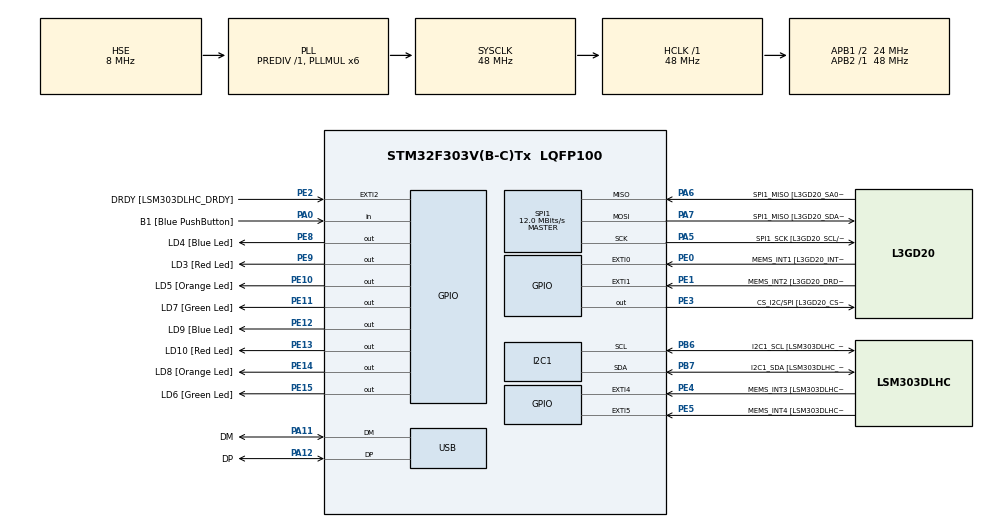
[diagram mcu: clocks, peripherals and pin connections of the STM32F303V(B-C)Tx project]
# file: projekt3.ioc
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I2C1.Timing=0x2000090E
I2C1.Timing-I2C=0x2000090E
Mcu.Family=STM32F3
Mcu.Name=STM32F303V(B-C)Tx
Mcu.Package=LQFP100
NVIC.PriorityGroup=NVIC_PRIORITYGROUP_0
NVIC.TIM2_IRQn=true\:0\:0\:false\:false\:true\:true\:true\:true
NVIC.TIM3_IRQn=true\:0\:0\:false\:false\:true\:true\:true\:true
PA0.GPIO_Label=B1 [Blue PushButton]
PA0.Signal=GPIO_Input
PA11.GPIO_Label=DM
PA11.Mode=Device
PA11.Signal=USB_DM
PA12.GPIO_Label=DP
PA12.Mode=Device
PA12.Signal=USB_DP
PA13.GPIO_Label=SWDIO
PA13.Mode=Serial_Wire
PA13.Signal=SYS_JTMS-SWDIO
PA14.GPIO_Label=SWCLK
PA14.Mode=Serial_Wire
PA14.Signal=SYS_JTCK-SWCLK
PA5.GPIO_Label=SPI1_SCK [L3GD20_SCL/SPC]
PA5.Mode=Full_Duplex_Master
PA5.Signal=SPI1_SCK
PA6.GPIO_Label=SPI1_MISO [L3GD20_SA0/SDO]
PA6.Mode=Full_Duplex_Master
PA6.Signal=SPI1_MISO
PA7.GPIO_Label=SPI1_MISO [L3GD20_SDA/SDI/SDO]
PA7.Mode=Full_Duplex_Master
PA7.Signal=SPI1_MOSI
PB3.GPIO_Label=SWO
PB3.Signal=SYS_JTDO-TRACESWO
PB6.GPIO_Label=I2C1_SCL [LSM303DLHC_SCL]
PB6.GPIO_Pu=GPIO_PULLUP
PB6.Mode=I2C
PB6.Signal=I2C1_SCL
PB7.GPIO_Label=I2C1_SDA [LSM303DLHC_SDA]
PB7.GPIO_Pu=GPIO_PULLUP
PB7.Mode=I2C
PB7.Signal=I2C1_SDA
PC14-OSC32_IN.GPIO_Label=OSC32_IN
PC14-OSC32_IN.Signal=RCC_OSC32_IN
PC15-OSC32_OUT.GPIO_Label=OSC32_OUT
PC15-OSC32_OUT.Signal=RCC_OSC32_OUT
PE0.GPIO_Label=MEMS_INT1 [L3GD20_INT1]
PE0.GPIO_ModeDefaultEXTI=GPIO_MODE_EVT_RISING
PE0.Signal=GPXTI0
PE1.GPIO_Label=MEMS_INT2 [L3GD20_DRDY/INT2]
PE1.GPIO_ModeDefaultEXTI=GPIO_MODE_EVT_RISING
PE1.Signal=GPXTI1
PE10.GPIO_Label=LD5 [Orange Led]
PE10.Signal=GPIO_Output
PE11.GPIO_Label=LD7 [Green Led]
PE11.Signal=GPIO_Output
PE12.GPIO_Label=LD9 [Blue Led]
PE12.Signal=GPIO_Output
PE13.GPIO_Label=LD10 [Red Led]
PE13.Signal=GPIO_Output
PE14.GPIO_Label=LD8 [Orange Led]
PE14.Signal=GPIO_Output
PE15.GPIO_Label=LD6 [Green Led]
PE15.Signal=GPIO_Output
PE2.GPIO_Label=DRDY [LSM303DLHC_DRDY]
PE2.GPIO_ModeDefaultEXTI=GPIO_MODE_EVT_RISING
PE2.Signal=GPXTI2
PE3.GPIO_Label=CS_I2C/SPI [L3GD20_CS_I2C/SPI]
PE3.Signal=GPIO_Output
PE4.GPIO_Label=MEMS_INT3 [LSM303DLHC_INT1]
PE4.GPIO_ModeDefaultEXTI=GPIO_MODE_EVT_RISING
PE4.Signal=GPXTI4
PE5.GPIO_Label=MEMS_INT4 [LSM303DLHC_INT2]
PE5.GPIO_ModeDefaultEXTI=GPIO_MODE_EVT_RISING
PE5.Signal=GPXTI5
PE8.GPIO_Label=LD4 [Blue Led]
PE8.Signal=GPIO_Output
PE9.GPIO_Label=LD3 [Red Led]
PE9.Signal=GPIO_Output
PF0-OSC_IN.GPIO_Label=OSC_IN
PF0-OSC_IN.Mode=HSE-External-Clock-Source
PF0-OSC_IN.Signal=RCC_OSC_IN
PF1-OSC_OUT.GPIO_Label=OSC_OUT
PF1-OSC_OUT.Signal=RCC_OSC_OUT
ProjectManager.HeapSize=0x200
ProjectManager.StackSize=0x400
ProjectManager.TargetToolchain=STM32CubeIDE
RCC.AHBFreq_Value=48000000
RCC.APB1CLKDivider=RCC_HCLK_DIV2
RCC.APB1Freq_Value=24000000
RCC.APB1TimFreq_Value=48000000
RCC.APB2Freq_Value=48000000
RCC.APB2TimFreq_Value=48000000
RCC.CortexFreq_Value=48000000
RCC.HCLKFreq_Value=48000000
RCC.HSE_VALUE=8000000
RCC.HSI_VALUE=8000000
RCC.LSE_VALUE=32768
RCC.PLLMUL=RCC_PLL_MUL6
RCC.SYSCLKFreq_VALUE=48000000
RCC.SYSCLKSourceVirtual=RCC_SYSCLKSOURCE_PLLCLK
RCC.USBFreq_Value=48000000
SPI1.BaudRatePrescaler=SPI_BAUDRATEPRESCALER_4
SPI1.BaudRatePrescaler-Full_Duplex_Master=SPI_BAUDRATEPRESCALER_2
SPI1.CalculateBaudRate=12.0 MBits/s
SPI1.CalculateBaudRate-Full_Duplex_Master=24.0 MBits/s
SPI1.Direction=SPI_DIRECTION_2LINES
SPI1.Mode=SPI_MODE_MASTER
SPI1.Mode-Full_Duplex_Master=SPI_MODE_MASTER
SPI1.VirtualType=VM_MASTER
TIM2.Period=9
TIM2.Prescaler=7999
TIM3.CounterMode=TIM_COUNTERMODE_UP
TIM3.Period=499
TIM3.Prescaler=7999
VP_TIM2_VS_ClockSourceINT.Mode=Internal
VP_TIM3_VS_ClockSourceINT.Mode=Internal
board=STM32F3DISCOVERY

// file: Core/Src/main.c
/* USER CODE BEGIN Header */
/**
  ******************************************************************************
  * @file           : main.c
  * @brief          : Main program body
  ******************************************************************************
  * @attention
  *
  * Copyright (c) 2026 STMicroelectronics.
  * All rights reserved.
  *
  * This software is licensed under terms that can be found in the LICENSE file
  * in the root directory of this software component.
  * If no LICENSE file comes with this software, it is provided AS-IS.
  *
  ******************************************************************************
  */
/* USER CODE END Header */
#include "main.h"
volatile int counter = 0;

I2C_HandleTypeDef hi2c1;

SPI_HandleTypeDef hspi1;

TIM_HandleTypeDef htim2;
TIM_HandleTypeDef htim3;

PCD_HandleTypeDef hpcd_USB_FS;

void SystemClock_Config(void);
static void MX_GPIO_Init(void);
static void MX_I2C1_Init(void);
static void MX_SPI1_Init(void);
static void MX_TIM2_Init(void);
static void MX_TIM3_Init(void);
static void MX_USB_PCD_Init(void);

void swiecenie_lampki(void)
{
	HAL_GPIO_WritePin(GPIOE, GPIO_PIN_13, GPIO_PIN_SET);
}
int main(void)
{

  /* MCU Configuration--------------------------------------------------------*/

  /* Reset of all peripherals, Initializes the Flash interface and the Systick. */
  HAL_Init();

  /* Configure the system clock */
  SystemClock_Config();

  /* Initialize all configured peripherals */
  MX_GPIO_Init();
  MX_I2C1_Init();
  MX_SPI1_Init();
  MX_TIM2_Init();
  MX_TIM3_Init();
  MX_USB_PCD_Init();
  /* USER CODE BEGIN 2 */
  HAL_TIM_Base_Start_IT(&htim2);
  HAL_TIM_Base_Start_IT(&htim3);
  /* USER CODE END 2 */

  /* Infinite loop */
  /* USER CODE BEGIN WHILE */
  while (1)
  {
	  if(counter == 1)
	  {
		  HAL_GPIO_WritePin(GPIOE, GPIO_PIN_13, GPIO_PIN_SET);
	  }

    /* USER CODE END WHILE */

  }
}

void SystemClock_Config(void)
{
  RCC_OscInitTypeDef RCC_OscInitStruct = {0};
  RCC_ClkInitTypeDef RCC_ClkInitStruct = {0};
  RCC_PeriphCLKInitTypeDef PeriphClkInit = {0};

  /** Initializes the RCC Oscillators according to the specified parameters
  * in the RCC_OscInitTypeDef structure.
  */
  RCC_OscInitStruct.OscillatorType = RCC_OSCILLATORTYPE_HSI|RCC_OSCILLATORTYPE_HSE;
  RCC_OscInitStruct.HSEState = RCC_HSE_BYPASS;
  RCC_OscInitStruct.HSEPredivValue = RCC_HSE_PREDIV_DIV1;
  RCC_OscInitStruct.HSIState = RCC_HSI_ON;
  RCC_OscInitStruct.HSICalibrationValue = RCC_HSICALIBRATION_DEFAULT;
  RCC_OscInitStruct.PLL.PLLState = RCC_PLL_ON;
  RCC_OscInitStruct.PLL.PLLSource = RCC_PLLSOURCE_HSE;
  RCC_OscInitStruct.PLL.PLLMUL = RCC_PLL_MUL6;
  if (HAL_RCC_OscConfig(&RCC_OscInitStruct) != HAL_OK)
  {
    Error_Handler();
  }

  /** Initializes the CPU, AHB and APB buses clocks
  */
  RCC_ClkInitStruct.ClockType = RCC_CLOCKTYPE_HCLK|RCC_CLOCKTYPE_SYSCLK
                              |RCC_CLOCKTYPE_PCLK1|RCC_CLOCKTYPE_PCLK2;
  RCC_ClkInitStruct.SYSCLKSource = RCC_SYSCLKSOURCE_PLLCLK;
  RCC_ClkInitStruct.AHBCLKDivider = RCC_SYSCLK_DIV1;
  RCC_ClkInitStruct.APB1CLKDivider = RCC_HCLK_DIV2;
  RCC_ClkInitStruct.APB2CLKDivider = RCC_HCLK_DIV1;

  if (HAL_RCC_ClockConfig(&RCC_ClkInitStruct, FLASH_LATENCY_1) != HAL_OK)
  {
    Error_Handler();
  }
  PeriphClkInit.PeriphClockSelection = RCC_PERIPHCLK_USB|RCC_PERIPHCLK_I2C1;
  PeriphClkInit.I2c1ClockSelection = RCC_I2C1CLKSOURCE_HSI;
  PeriphClkInit.USBClockSelection = RCC_USBCLKSOURCE_PLL;
  if (HAL_RCCEx_PeriphCLKConfig(&PeriphClkInit) != HAL_OK)
  {
    Error_Handler();
  }
}

static void MX_I2C1_Init(void)
{

  hi2c1.Instance = I2C1;
  hi2c1.Init.Timing = 0x2000090E;
  hi2c1.Init.OwnAddress1 = 0;
  hi2c1.Init.AddressingMode = I2C_ADDRESSINGMODE_7BIT;
  hi2c1.Init.DualAddressMode = I2C_DUALADDRESS_DISABLE;
  hi2c1.Init.OwnAddress2 = 0;
  hi2c1.Init.OwnAddress2Masks = I2C_OA2_NOMASK;
  hi2c1.Init.GeneralCallMode = I2C_GENERALCALL_DISABLE;
  hi2c1.Init.NoStretchMode = I2C_NOSTRETCH_DISABLE;
  if (HAL_I2C_Init(&hi2c1) != HAL_OK)
  {
    Error_Handler();
  }

  /** Configure Analogue filter
  */
  if (HAL_I2CEx_ConfigAnalogFilter(&hi2c1, I2C_ANALOGFILTER_ENABLE) != HAL_OK)
  {
    Error_Handler();
  }

  /** Configure Digital filter
  */
  if (HAL_I2CEx_ConfigDigitalFilter(&hi2c1, 0) != HAL_OK)
  {
    Error_Handler();
  }

}

static void MX_SPI1_Init(void)
{

  /* SPI1 parameter configuration*/
  hspi1.Instance = SPI1;
  hspi1.Init.Mode = SPI_MODE_MASTER;
  hspi1.Init.Direction = SPI_DIRECTION_2LINES;
  hspi1.Init.DataSize = SPI_DATASIZE_4BIT;
  hspi1.Init.CLKPolarity = SPI_POLARITY_LOW;
  hspi1.Init.CLKPhase = SPI_PHASE_1EDGE;
  hspi1.Init.NSS = SPI_NSS_SOFT;
  hspi1.Init.BaudRatePrescaler = SPI_BAUDRATEPRESCALER_4;
  hspi1.Init.FirstBit = SPI_FIRSTBIT_MSB;
  hspi1.Init.TIMode = SPI_TIMODE_DISABLE;
  hspi1.Init.CRCCalculation = SPI_CRCCALCULATION_DISABLE;
  hspi1.Init.CRCPolynomial = 7;
  hspi1.Init.CRCLength = SPI_CRC_LENGTH_DATASIZE;
  hspi1.Init.NSSPMode = SPI_NSS_PULSE_ENABLE;
  if (HAL_SPI_Init(&hspi1) != HAL_OK)
  {
    Error_Handler();
  }

}

static void MX_TIM2_Init(void)
{

  TIM_ClockConfigTypeDef sClockSourceConfig = {0};
  TIM_MasterConfigTypeDef sMasterConfig = {0};

  htim2.Instance = TIM2;
  htim2.Init.Prescaler = 7999;
  htim2.Init.CounterMode = TIM_COUNTERMODE_UP;
  htim2.Init.Period = 9;
  htim2.Init.ClockDivision = TIM_CLOCKDIVISION_DIV1;
  htim2.Init.AutoReloadPreload = TIM_AUTORELOAD_PRELOAD_DISABLE;
  if (HAL_TIM_Base_Init(&htim2) != HAL_OK)
  {
    Error_Handler();
  }
  sClockSourceConfig.ClockSource = TIM_CLOCKSOURCE_INTERNAL;
  if (HAL_TIM_ConfigClockSource(&htim2, &sClockSourceConfig) != HAL_OK)
  {
    Error_Handler();
  }
  sMasterConfig.MasterOutputTrigger = TIM_TRGO_RESET;
  sMasterConfig.MasterSlaveMode = TIM_MASTERSLAVEMODE_DISABLE;
  if (HAL_TIMEx_MasterConfigSynchronization(&htim2, &sMasterConfig) != HAL_OK)
  {
    Error_Handler();
  }

}

static void MX_TIM3_Init(void)
{

  TIM_ClockConfigTypeDef sClockSourceConfig = {0};
  TIM_MasterConfigTypeDef sMasterConfig = {0};

  htim3.Instance = TIM3;
  htim3.Init.Prescaler = 7999;
  htim3.Init.CounterMode = TIM_COUNTERMODE_UP;
  htim3.Init.Period = 499;
  htim3.Init.ClockDivision = TIM_CLOCKDIVISION_DIV1;
  htim3.Init.AutoReloadPreload = TIM_AUTORELOAD_PRELOAD_DISABLE;
  if (HAL_TIM_Base_Init(&htim3) != HAL_OK)
  {
    Error_Handler();
  }
  sClockSourceConfig.ClockSource = TIM_CLOCKSOURCE_INTERNAL;
  if (HAL_TIM_ConfigClockSource(&htim3, &sClockSourceConfig) != HAL_OK)
  {
    Error_Handler();
  }
  sMasterConfig.MasterOutputTrigger = TIM_TRGO_RESET;
  sMasterConfig.MasterSlaveMode = TIM_MASTERSLAVEMODE_DISABLE;
  if (HAL_TIMEx_MasterConfigSynchronization(&htim3, &sMasterConfig) != HAL_OK)
  {
    Error_Handler();
  }

}

static void MX_USB_PCD_Init(void)
{

  hpcd_USB_FS.Instance = USB;
  hpcd_USB_FS.Init.dev_endpoints = 8;
  hpcd_USB_FS.Init.speed = PCD_SPEED_FULL;
  hpcd_USB_FS.Init.phy_itface = PCD_PHY_EMBEDDED;
  hpcd_USB_FS.Init.low_power_enable = DISABLE;
  hpcd_USB_FS.Init.battery_charging_enable = DISABLE;
  if (HAL_PCD_Init(&hpcd_USB_FS) != HAL_OK)
  {
    Error_Handler();
  }

}

static void MX_GPIO_Init(void)
{
  GPIO_InitTypeDef GPIO_InitStruct = {0};

  /* GPIO Ports Clock Enable */
  __HAL_RCC_GPIOE_CLK_ENABLE();
  __HAL_RCC_GPIOC_CLK_ENABLE();
  __HAL_RCC_GPIOF_CLK_ENABLE();
  __HAL_RCC_GPIOA_CLK_ENABLE();
  __HAL_RCC_GPIOB_CLK_ENABLE();

  /*Configure GPIO pin Output Level */
  HAL_GPIO_WritePin(GPIOE, CS_I2C_SPI_Pin|LD4_Pin|LD3_Pin|LD5_Pin
                          |LD7_Pin|LD9_Pin|LD10_Pin|LD8_Pin
                          |LD6_Pin, GPIO_PIN_RESET);

  /*Configure GPIO pins : DRDY_Pin MEMS_INT3_Pin MEMS_INT4_Pin MEMS_INT1_Pin
                           MEMS_INT2_Pin */
  GPIO_InitStruct.Pin = DRDY_Pin|MEMS_INT3_Pin|MEMS_INT4_Pin|MEMS_INT1_Pin
                          |MEMS_INT2_Pin;
  GPIO_InitStruct.Mode = GPIO_MODE_EVT_RISING;
  GPIO_InitStruct.Pull = GPIO_NOPULL;
  HAL_GPIO_Init(GPIOE, &GPIO_InitStruct);

  /*Configure GPIO pins : CS_I2C_SPI_Pin LD4_Pin LD3_Pin LD5_Pin
                           LD7_Pin LD9_Pin LD10_Pin LD8_Pin
                           LD6_Pin */
  GPIO_InitStruct.Pin = CS_I2C_SPI_Pin|LD4_Pin|LD3_Pin|LD5_Pin
                          |LD7_Pin|LD9_Pin|LD10_Pin|LD8_Pin
                          |LD6_Pin;
  GPIO_InitStruct.Mode = GPIO_MODE_OUTPUT_PP;
  GPIO_InitStruct.Pull = GPIO_NOPULL;
  GPIO_InitStruct.Speed = GPIO_SPEED_FREQ_LOW;
  HAL_GPIO_Init(GPIOE, &GPIO_InitStruct);

  /*Configure GPIO pin : B1_Pin */
  GPIO_InitStruct.Pin = B1_Pin;
  GPIO_InitStruct.Mode = GPIO_MODE_INPUT;
  GPIO_InitStruct.Pull = GPIO_NOPULL;
  HAL_GPIO_Init(B1_GPIO_Port, &GPIO_InitStruct);

}

/* USER CODE BEGIN 4 */
volatile uint8_t last = 0;
void  HAL_TIM_PeriodElapsedCallback(TIM_HandleTypeDef *htim)
{

	if(htim->Instance == TIM2)
	{
		uint8_t current = HAL_GPIO_ReadPin(GPIOA, GPIO_PIN_0);
		if(current == 1 && last == 0)
		{
			counter++;
		}
		last = current;

	}
	if(htim->Instance == TIM3)
	{
		if(counter == 1)

		if(counter == 2)
		{
			HAL_GPIO_WritePin(GPIOE,GPIO_PIN_13, GPIO_PIN_RESET);
			HAL_GPIO_TogglePin(GPIOE, GPIO_PIN_9);
		}
		if(counter == 3)
		{
			HAL_GPIO_WritePin(GPIOE,GPIO_PIN_9, GPIO_PIN_RESET);
			HAL_GPIO_WritePin(GPIOE,GPIO_PIN_13, GPIO_PIN_RESET);
			HAL_GPIO_TogglePin(GPIOE,GPIO_PIN_10);
		    HAL_GPIO_TogglePin(GPIOE,GPIO_PIN_11);
		}
		if(counter >= 4)
		{
			HAL_GPIO_WritePin(GPIOE,GPIO_PIN_9, GPIO_PIN_RESET);
			HAL_GPIO_WritePin(GPIOE,GPIO_PIN_13, GPIO_PIN_RESET);
			HAL_GPIO_WritePin(GPIOE,GPIO_PIN_10, GPIO_PIN_RESET);
			HAL_GPIO_WritePin(GPIOE,GPIO_PIN_11, GPIO_PIN_RESET);
			counter = 0;
		}

	}
}
/* USER CODE END 4 */

void Error_Handler(void)
{
  __disable_irq();
  while (1)
  {
  }
}
